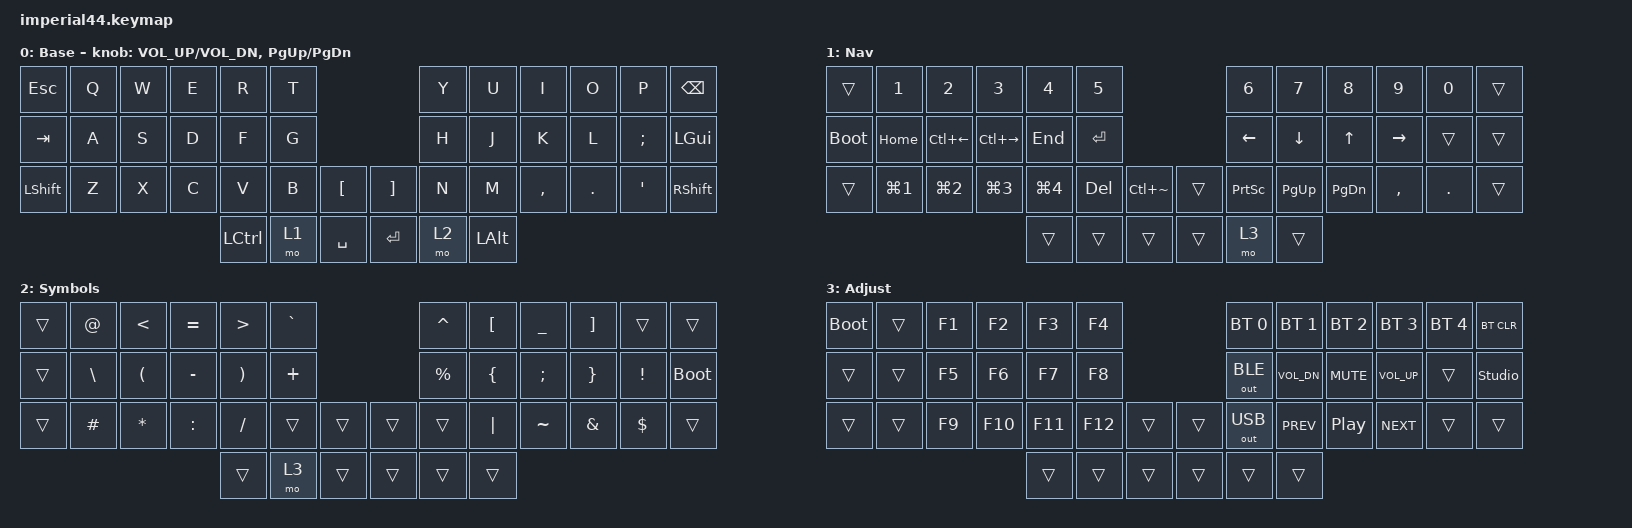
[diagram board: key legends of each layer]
#include "keys_ru.h"
#include <behaviors.dtsi>
#include <dt-bindings/zmk/bt.h>
#include <dt-bindings/zmk/keys.h>
#include <dt-bindings/zmk/outputs.h>

/ {
    keymap {
        compatible = "zmk,keymap";

        base {
            bindings = <
&kp ESC    &kp Q  &kp W  &kp E  &kp R      &kp T                          &kp Y  &kp U     &kp I      &kp O    &kp P     &kp BACKSPACE
&kp TAB    &kp A  &kp S  &kp D  &kp F      &kp G                          &kp H  &kp J     &kp K      &kp L    &kp SEMI  &kp LGUI
&kp LSHFT  &kp Z  &kp X  &kp C  &kp V      &kp B  &kp LBKT     &kp RBKT   &kp N  &kp M     &kp COMMA  &kp DOT  &kp SQT   &kp RSHFT
                                &kp LCTRL  &mo 1  &kp SPACE    &kp ENTER  &mo 2  &kp LALT
            >;

            display-name = "Base";
            sensor-bindings =
                <&inc_dec_kp C_VOL_UP C_VOL_DN>,
                <&inc_dec_kp PG_UP PG_DN>;
        };

        nav {
            bindings = <
&trans       &kp N1      &kp N2              &kp N3               &kp N4      &kp N5                               &kp N6           &kp N7       &kp N8     &kp N9     &kp N0   &trans
&bootloader  &kp HOME    &kp LC(LEFT_ARROW)  &kp LC(RIGHT_ARROW)  &kp END     &kp ENTER                            &kp LEFT         &kp DOWN     &kp UP     &kp RIGHT  &trans   &trans
&trans       &kp LG(N1)  &kp LG(N2)          &kp LG(N3)           &kp LG(N4)  &kp DELETE  &kp LC(TILDE)    &trans  &kp PRINTSCREEN  &kp PAGE_UP  &kp PG_DN  &kp COMMA  &kp DOT  &trans
                                                                  &trans      &trans      &trans           &trans  &mo 3            &trans
            >;

            display-name = "Nav";
        };

        sym {
            bindings = <
&trans  &kp AT    &kp LT    &kp EQUAL  &kp GT    &kp GRAVE                    &kp CARET  &kp LBKT  &kp UNDER  &kp RBKT  &trans    &trans
&trans  &kp BSLH  &kp LPAR  &kp MINUS  &kp RPAR  &kp PLUS                     &kp PRCNT  &kp LBRC  &kp SEMI   &kp RBRC  &kp EXCL  &bootloader
&trans  &kp HASH  &kp STAR  &kp COLON  &kp FSLH  &trans     &trans    &trans  &trans     &kp PIPE  &kp TILDE  &kp AMPS  &kp DLLR  &trans
                                       &trans    &mo 3      &trans    &trans  &trans     &trans
            >;

            display-name = "Symbols";
        };

        adj {
            bindings = <
&bootloader  &trans  &kp F1  &kp F2   &kp F3   &kp F4                     &bt BT_SEL 0  &bt BT_SEL 1  &bt BT_SEL 2      &bt BT_SEL 3  &bt BT_SEL 4  &bt BT_CLR
&trans       &trans  &kp F5  &kp F6   &kp F7   &kp F8                     &out OUT_BLE  &kp C_VOL_DN  &kp C_MUTE        &kp C_VOL_UP  &trans        &studio_unlock
&trans       &trans  &kp F9  &kp F10  &kp F11  &kp F12  &trans    &trans  &out OUT_USB  &kp C_PREV    &kp C_PLAY_PAUSE  &kp C_NEXT    &trans        &trans
                                      &trans   &trans   &trans    &trans  &trans        &trans
            >;

            display-name = "Adjust";
        };
    };
};
